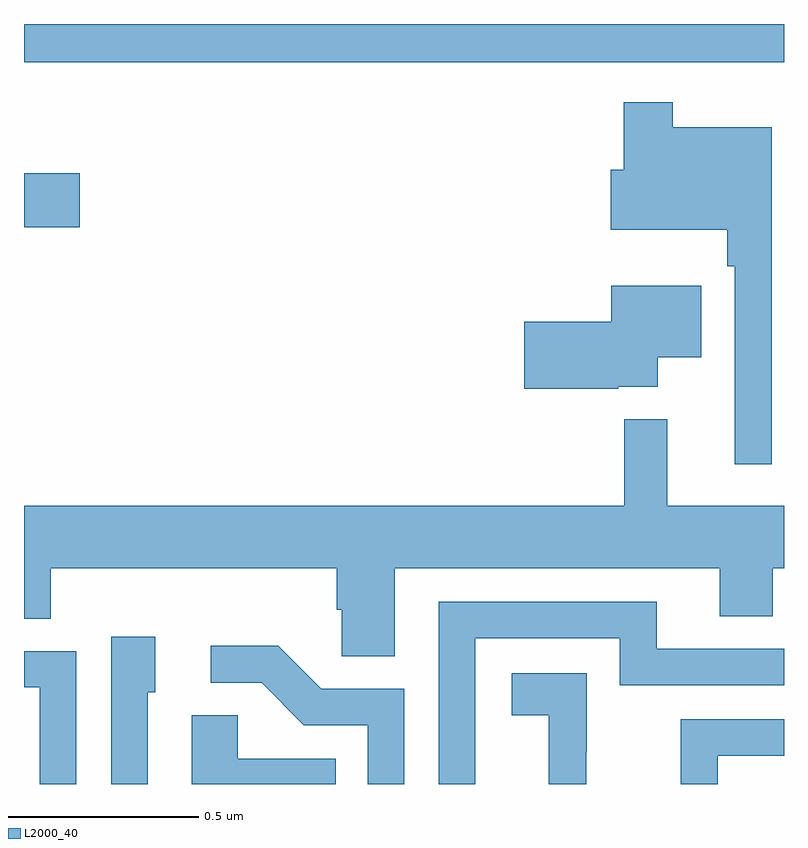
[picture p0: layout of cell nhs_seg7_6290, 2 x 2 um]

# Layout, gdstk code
import gdstk
lib = gdstk.Library(unit=1e-6, precision=1e-09)
def R(c, l, rs):  # rectangles x0, y0, x1, y1
    for r in rs: c.add(gdstk.rectangle(r[:2], r[2:], *l))
def P(c, l, *ps):  # polygons
    for p in ps: c.add(gdstk.Polygon(p, *l))
L2000_40 = (2000, 40)

nhs_seg7_6290 = lib.new_cell('nhs_seg7_6290')
R(nhs_seg7_6290, L2000_40, [(196,1049.465,196.147,1049.607), (196,1049.9,198,1050)])
P(nhs_seg7_6290, L2000_40, [(197.968,1049.728),(197.707,1049.728),(197.707,1049.794),(197.578,1049.794),(197.578,1049.617),(197.544,1049.617),(197.544,1049.459),(197.851,1049.459),(197.851,1049.363),(197.871,1049.363),(197.871,1048.842),(197.968,1048.842)],
  [(197.564,1049.045),(197.668,1049.045),(197.668,1049.123),(197.782,1049.123),(197.782,1049.311),(197.546,1049.311),(197.546,1049.216),(197.316,1049.216),(197.316,1049.04),(197.564,1049.04)],
  [(196.975,1048.568),(197.831,1048.568),(197.831,1048.441),(197.97,1048.441),(197.97,1048.568),(198,1048.568),(198,1048.732),(197.693,1048.732),(197.693,1048.96),(197.579,1048.96),(197.579,1048.732),(196,1048.732),(196,1048.435),(196.07,1048.435),(196.07,1048.568),(196.823,1048.568),(196.823,1048.459),(196.836,1048.459),(196.836,1048.336),(196.975,1048.336)],
  [(197.187,1048.383),(197.568,1048.383),(197.568,1048.26),(198,1048.26),(198,1048.356),(197.665,1048.356),(197.665,1048.479),(197.091,1048.479),(197.091,1048),(197.187,1048)],
  [(196.326,1048.242),(196.345,1048.242),(196.345,1048.387),(196.23,1048.387),(196.23,1048),(196.326,1048)],
  [(197.001,1048.251),(196.782,1048.251),(196.669,1048.364),(196.491,1048.364),(196.491,1048.266),(196.625,1048.266),(196.736,1048.155),(196.905,1048.155),(196.905,1048),(197.001,1048)],
  [(196.137,1048.35),(196,1048.35),(196,1048.254),(196.041,1048.254),(196.041,1048),(196.137,1048)],
  [(197.48,1048.085),(197.481,1048.085),(197.481,1048.291),(197.283,1048.291),(197.283,1048.181),(197.381,1048.181),(197.381,1048),(197.48,1048)],
  [(196.82,1048.066),(196.563,1048.066),(196.563,1048.181),(196.442,1048.181),(196.442,1048),(196.82,1048)],
  [(197.826,1048.074),(198,1048.074),(198,1048.17),(197.728,1048.17),(197.728,1048),(197.826,1048)])

lib.write_gds('nhs_seg7_6290.gds')
